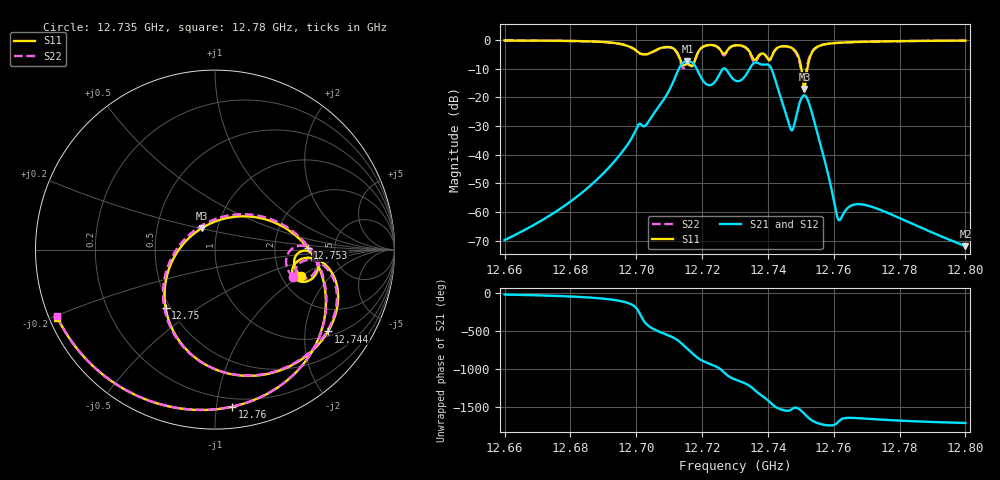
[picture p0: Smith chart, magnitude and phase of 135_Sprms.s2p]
! TOUCHSTONE file generated by CST MICROWAVE STUDIO
! Date and time: Wed Jul 31 17:37:37 2024
! Project name: WaveGuide_BPF-Ver4.1_U-shape_Ku_T3_C4_CWA_2.cst
! Parameters = {cavity_h=16; cavity_l0=10; cavity_l1=15.1707; cavity_l2=16.8766; cavity_l3=17.0802; cavity_l4=17.2764; cavity_l5=17.126; cavity_l6=17.635; cavity_r=2.5; cavity_screw_l=0.5; cavity_screw_r=1.5; cavity_w=8; iris_h00=0; iris_h01=8.8159; iris_h112=0; iris_h12=5.6129; iris_h211=3.6633; ir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
! Header version: 2018
! Port assignment regex: !\s*Touchstone port\s*([0-9]+)\s*=\s*(CST MWS port|CST DS port)\s*([0-9]+|Zmin|Zmax)\s*\(\"(.*)\"\)(\s*mode\s*([0-9]+))?.*
! Touchstone port assignment:
! Touchstone port 1 = CST MWS port 1 ("")
! Touchstone port 2 = CST MWS port 2 ("")
# GHz S RI R 50
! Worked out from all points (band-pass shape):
!   5001 points, 12.66 GHz to 12.8 GHz, reference 50 ohm
!   highest |S21| = -7.46 dB at 12.716 GHz (marker M1); lowest = -71.9 dB at 12.8 GHz (marker M2)
!   |S21| within 3 dB of the highest: 12.71278 GHz to 12.71854 GHz (5.759 MHz wide, 0.0453 % of centre); 12.73424 GHz to 12.74121 GHz (6.976 MHz wide, 0.0548 % of centre) (the widest 2 of 3)
!   lowest |S11| = -17.0 dB at 12.751 GHz (marker M3), VSWR 1.33, Z = 42.1 + j10.4 ohm
!   |S11| at or under -10 dB: 12.75018 GHz to 12.75197 GHz (1.79 MHz wide, 0.014 % of centre)
!   |S22| runs from -16.3 to -0.2 dB; largest |S21 - S12| = 1e-09
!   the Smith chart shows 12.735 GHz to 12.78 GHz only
!   S11 on the Smith chart (normalised r, x): 12.735 GHz: 2.57, -0.99; 12.744 GHz: 1.15, -2.64; 12.75 GHz: 0.47, -0.38; 12.753 GHz: 3.13, +0.09; 12.76 GHz: 0.14, -1.10; 12.78 GHz: 0.02, -0.21
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12.66  0.2467 0.9513  0.000307 -0.000106  0.000307 -0.000106  0.253 0.9496
12.68335  0.668 0.6832  0.00132 -0.00169  0.00132 -0.00169  0.6731 0.6784
12.6952  0.851 -0.0305  -0.00263 -0.00989  -0.00263 -0.00989  0.8537 -0.0298
12.7004  0.1977 -0.5903  -0.0241 0.0204  -0.0241 0.0204  0.2192 -0.5895
12.70668  -0.4844 0.5019  -0.0543 -0.0396  -0.0543 -0.0396  -0.4895 0.4847
12.71194  0.3189 0.5793  -0.101 0.2082  -0.101 0.2082  0.3308 0.5533
12.71555  0.1344 0.3606  0.4076 -0.1148  0.4076 -0.1148  0.1071 0.3539
12.71908  0.0265 0.653  -0.219 -0.1383  -0.219 -0.1383  0.0226 0.6514
12.72563  0.5745 0.3347  0.0767 0.2641  0.0767 0.2641  0.5675 0.3092
12.73  0.7354 0.3339  0.1003 -0.1704  0.1003 -0.1704  0.7297 0.329
12.73526  0.4801 -0.1446  -0.3699 -0.045  -0.3699 -0.045  0.437 -0.1521
12.74016  0.4325 -0.1368  0.3516 0.111  0.3516 0.111  0.4513 -0.1306
12.7442  0.6297 -0.4559  -0.0139 -0.0866  -0.0139 -0.0866  0.6118 -0.4748
12.74722  0.1904 -0.7036  -0.00185 -0.0265  -0.00185 -0.0265  0.1446 -0.6997
12.74971  -0.2748 -0.3275  -0.0113 -0.0817  -0.0113 -0.0817  -0.2896 -0.2502
12.75108  -0.0722 0.1205  -0.0974 -0.0478  -0.0974 -0.0478  -0.00749 0.1664
12.75285  0.5155 0.01  -0.0482 0.048  -0.0482 0.048  0.5467 -0.0227
12.75335  0.5874 -0.1193  -0.0271 0.0469  -0.0271 0.0469  0.6033 -0.1528
12.7599  0.0953 -0.8756  0.000934 0.00145  0.000934 0.00145  0.0812 -0.8777
12.77668  -0.8158 -0.4874  -0.000531 0.000789  -0.000531 0.000789  -0.8223 -0.477
12.7799  -0.8776 -0.3797  -0.000354 0.000706  -0.000354 0.000706  -0.8825 -0.3689
12.8  -0.9684 0.1277  2.07e-05 0.000253  2.07e-05 0.000253  -0.9673 0.137
